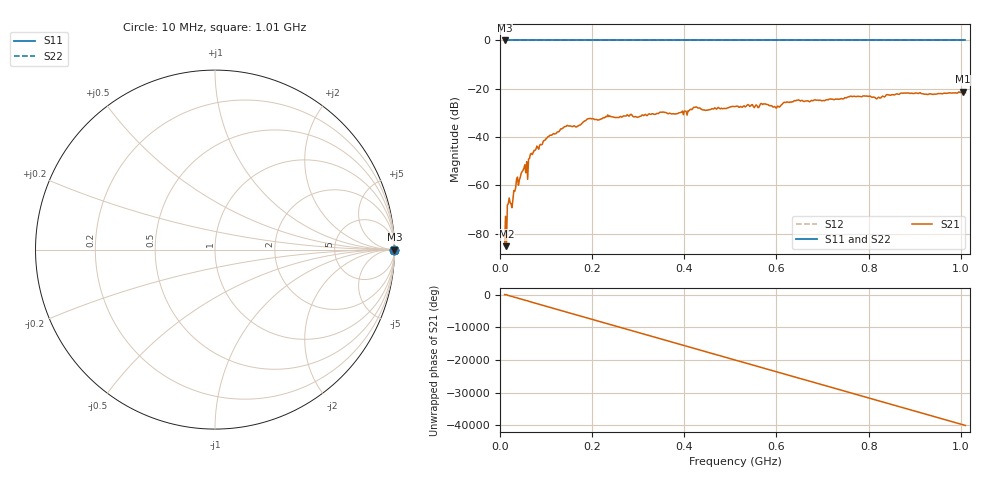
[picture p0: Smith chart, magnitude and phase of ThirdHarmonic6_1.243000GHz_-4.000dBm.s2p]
! 8/16/2025 1:13:09 PM
! C:\ANRITSUVNA\TEMP\TEMP.S2P
! CHANNEL.1
! TR.MEASUREMENT
! RAW.DATA
! RF.CORRECTION.OFF
! AVERAGING.OFF
! IF.BANDWIDTH: 5KHZ
! SWEEPTYPE:  FREQ.SWEEP(Linear)
! Reference Plane Port Info
! PORT:  PORT1  PORT2
! DISTANCE:  0  m  0  m
! TIME:  0  s  0  s
! PHASE.OFFSET:  0  deg.  0  deg.
! LOSS:  0  dB  0  dB
! REF.LOSS:  0  dB  0  dB
! REF.FREQ:  0  Hz  0  Hz
! Power Info
! POWER:  -20  dBm  -20  dBm
! EFF.POWER:  -20  dBm  -20  dBm
! SOURCE.ATTEN:  0  dB  0  dB
! TEST.ATTEN:  0  dB  0  dB
# GHZ S RI R 50.0
! FREQ.GHZ  S11RE  S11IM  S21RE  S21IM  S12RE  S12IM  S22RE  S22IM
!; PortSelection: Port_12
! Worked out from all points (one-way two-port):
!   501 points, 10 MHz to 1.01 GHz, reference 50 ohm
!   highest |S21| = -21.19 dB at 1.004 GHz (marker M1); lowest = -85.2 dB at 14 MHz (marker M2)
!   lowest |S11| = 0.0 dB at 10 MHz (marker M3)
!   |S11| at or under -10 dB: nowhere
!   |S22| runs from 0.0 to 0.0 dB; largest |S21 - S12| = 1.1
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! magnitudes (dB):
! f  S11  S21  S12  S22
! 10 MHz  0.0  -84.9  0.0  0.0
! 14 MHz  0.0  -85.2  0.0  0.0
! 20 MHz  0.0  -65.3  0.0  0.0
! 28 MHz  0.0  -66.1  0.0  0.0
! 34 MHz  0.0  -61.0  0.0  0.0
! 50 MHz  0.0  -53.8  0.0  0.0
! 60 MHz  0.0  -57.5  0.0  0.0
! 70 MHz  0.0  -47.3  0.0  0.0
! 104 MHz  0.0  -39.9  0.0  0.0
! 136 MHz  0.0  -36.4  0.0  0.0
! 178 MHz  0.0  -34.3  0.0  0.0
! 192 MHz  0.0  -32.4  0.0  0.0
! 234 MHz  0.0  -30.8  0.0  0.0
! 344 MHz  0.0  -30.3  0.0  0.0
! 510 MHz  0.0  -27.4  0.0  0.0
! 570 MHz  0.0  -26.5  0.0  0.0
! 602 MHz  0.0  -27.2  0.0  0.0
! 620 MHz  0.0  -25.8  0.0  0.0
! 678 MHz  0.0  -25.0  0.0  0.0
! 844 MHz  0.0  -22.6  0.0  0.0
! 1.004 GHz  0.0  -21.2  0.0  0.0
! 1.01 GHz  0.0  -21.7  0.0  0.0
